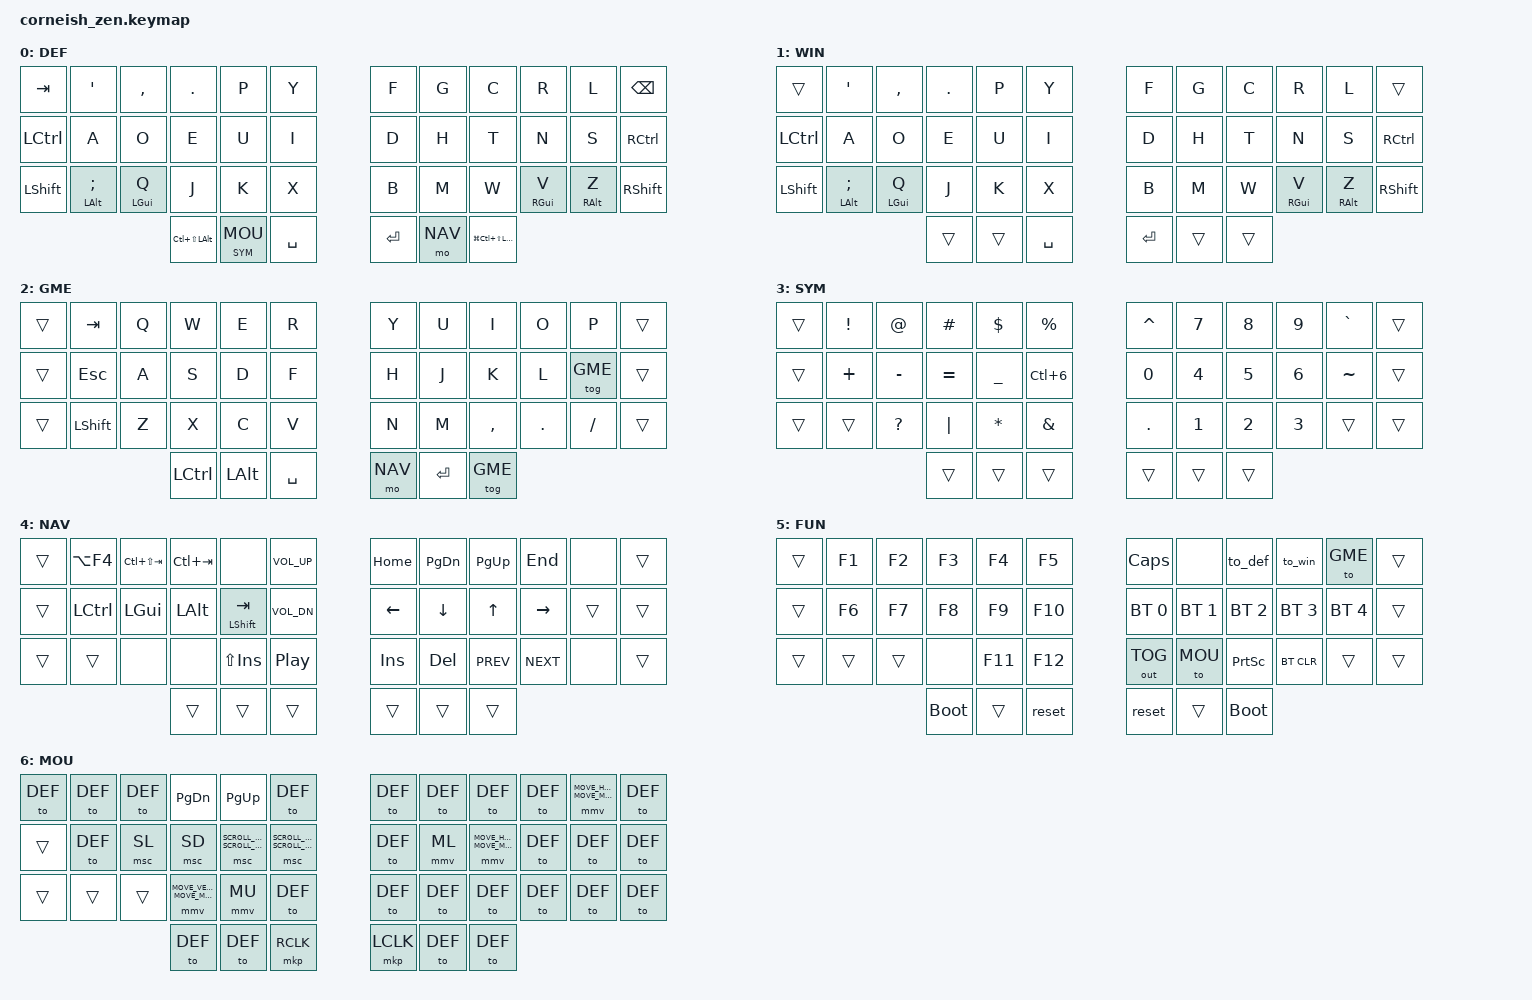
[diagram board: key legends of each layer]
#define THREE_THUMBS
#include <behaviors.dtsi>
#include <dt-bindings/zmk/keys.h>
#include <dt-bindings/zmk/bt.h>
#include <dt-bindings/zmk/outputs.h>
#include <dt-bindings/zmk/mouse.h>
#ifdef EXTERNAL_POWER
#    include <dt-bindings/zmk/ext_power.h>
#endif

// Layer aliases
#define DEF 0
#define CLM 1
#define GME 2
#define SYM 3
#define NAV 4
#define FUN 5
#define MOU 6

// Desktop and tab navigation shortcuts
#define D_LT   LC(LEFTD_LT   LC(LEFT)
#define D_RT   LC(RIGHT)
#define TAB_RT LC(TAB)
#define TAB_LT LC(LS(TAB))

// Meh and Hyper

#define MEH LC(LS(LALT))
#define HYPER LG(LC(LS(LALT)))
#define U_MOUSE_MOVE_MAX_HORI 3300                    /* <--- New max speed setting (default: 600) */
#define U_MOUSE_MOVE_MAX_VERT 2400                    /* <--- New max speed setting (default: 600) */

#define MU 	MOVE_VERT(-U_MOUSE_MOVE_MAX_VERT)
#define MD 	MOVE_VERT(U_MOUSE_MOVE_MAX_VERT)
#define ML 	MOVE_HOR(-U_MOUSE_MOVE_MAX_HORI)
#define MR 	MOVE_HOR(U_MOUSE_MOVE_MAX_HORI)

#define U_MOUSE_SCROLL_MAX_VERT 30                    /* <--- New max speed setting (default: 10) */
#define U_MOUSE_SCROLL_MAX_HORI 10                    /* <--- New max speed setting (default: 10) */

#define SU SCROLL_VERT(U_MOUSE_SCROLL_MAX_VERT)
#define SD SCROLL_VERT(-U_MOUSE_SCROLL_MAX_VERT)
#define SL SCROLL_HOR(-U_MOUSE_SCROLL_MAX_HORI)
#define SR SCROLL_HOR(U_MOUSE_SCROLL_MAX_HORI)

&msc {
  time-to-max-speed-ms = <400>;                 /* <--- How long time until max speed is reached */
};

&mmv {
  time-to-max-speed-ms = <800>;             /* <--- How long time until max speed is reached (default: 500) */
};

#include "combos.dtsi"

/ {
  chosen {
    zmk,matrix_transform = &default_transform;
    //zmk,matrix_transform = &five_column_transform;
  };
};

&mt {
    flavor = "hold-preferred";
    tapping-term-ms = <150>;
};

&lt {
    flavor = "balanced";
    tapping-term-ms = <150>;
};

&caps_word {
    continue-list = <UNDERSCORE MINUS BSPC DEL N1 N2 N3 N4 N5 N6 N7 N8 N9 N0>;
};

/ {
    behaviors {
        am: alpha_mods {
            compatible = "zmk,behavior-hold-tap";
            label = "ALPHA_MT";
            #binding-cells = <2>;
            tapping-term-ms = <250>;
            quick-tap-ms = <150>;
            flavor = "tap-preferred";
            bindings = <&kp>, <&kp>;
        };
        as: alpha_shift {
            compatible = "zmk,behavior-hold-tap";
            label = "ALPHA_SFT";
            #binding-cells = <2>;
            tapping-term-ms = <200>;
            quick-tap-ms = <150>;
            flavor = "tap-preferred";
            bindings = <&kp>, <&kp>;
	    };
	ilt: global-quick-tap {
	   compatible = "zmk,behavior-hold-tap";
	   label = "INVERSE_LAYER_TOGGLE";
	   #binding-cells = <2>;
	   flavor = "hold-preferred";
	   tapping-term-ms = <200>;
	   quick-tap-ms = <180>;
	   bindings = <&mo>, <&to>;
	 };

        // Easy alt-tab with alt+backspace thumb using mod-morphs
        bstab: backspace_tab {
            compatible = "zmk,behavior-mod-morph";
            label = "BSPC_TAB";
            #binding-cells = <0>;
            bindings = <&kp BSPC>, <&kp TAB>;
            mods = <MOD_LALT>;
        };
        lt_bspc: layer_tap_backspace_tab {
            compatible = "zmk,behavior-hold-tap";
            label = "LT_BT";
            #binding-cells = <2>;
            tapping-term-ms = <150>;
            flavor = "balanced";
            bindings = <&mo>, <&bstab>;
        };
    };

    cond_layers {
        compatible = "zmk,conditional-layers";
        // Define FUN layer as tri-state
        func_tristate {
            if-layers = <NAV SYM>;
            then-layer = <FUN>;
        };
    };

    macros {
        ZMK_MACRO(MOUSE_SELECT,
            wait-ms = <10>;
            tap-ms = <10>;
            bindings
                = <&macro_tap &mkp LCLK>
                , <&macro_tap &to DEF>;
        )
        ZMK_MACRO(to_win,
            wait-ms = <10>;
            tap-ms = <10>;
            bindings
                = <&macro_tap &kp LC(F2)>
                , <&macro_tap &to CLM>;
        )
        ZMK_MACRO(to_def,
            wait-ms = <10>;
            tap-ms = <10>;
            bindings
                = <&macro_press &kp LC(F1)>
                , <&macro_press &to DEF>;
        )
    };

    keymap {
        compatible = "zmk,keymap";

        default_layer {
            label = "DEF";
            bindings = <
//@format
// ╭─────────────┬─────────────┬─────────────┬─────────────┬─────────────┬─────────────╮   ╭─────────────┬─────────────┬─────────────┬─────────────┬─────────────┬─────────────╮
    &kp TAB 	  &kp SQT       &kp COMMA     &kp DOT       &kp P         &kp Y             &kp F         &kp G         &kp C         &kp R         &kp L         &kp BSPC
// ├─────────────┼─────────────┼─────────────┼─────────────┼─────────────┼─────────────┤   ├─────────────┼─────────────┼─────────────┼─────────────┼─────────────┼─────────────┤
    &kp LCTRL     &kp A         &kp O         &kp E         &kp U   	  &kp I             &kp D         &kp H         &kp T         &kp N         &kp S         &kp RCTRL
// ├─────────────┼─────────────┼─────────────┼─────────────┼─────────────┼─────────────┤   ├─────────────┼─────────────┼─────────────┼─────────────┼─────────────┼─────────────┤
    &kp LSHIFT    &am LALT SEMI &am LGUI Q    &kp J         &kp K         &kp X             &kp B         &kp M         &kp W         &am RGUI V    &am RALT Z    &kp RSHIFT
// ╰─────────────┴─────────────┴─────────────┼─────────────┼─────────────┼─────────────┤   ├─────────────┼─────────────┼─────────────┼─────────────┴─────────────┴─────────────╯
                                              &kp MEH       &ilt SYM MOU  &kp SPACE         &kp ENTER     &mo NAV       &kp HYPER
//                                           ╰─────────────┴─────────────┴─────────────╯   ╰─────────────┴─────────────┴─────────────╯
            >;
        };

        colemak_layer {
            label = "WIN";
            bindings = <
//@format
// ╭─────────────┬─────────────┬─────────────┬─────────────┬─────────────┬─────────────╮   ╭─────────────┬─────────────┬─────────────┬─────────────┬─────────────┬─────────────╮
    &trans        &kp SQT       &kp COMMA     &kp DOT       &kp P         &kp Y             &kp F         &kp G         &kp C         &kp R         &kp L 	  &trans
// ├─────────────┼─────────────┼─────────────┼─────────────┼─────────────┼─────────────┤   ├─────────────┼─────────────┼─────────────┼─────────────┼─────────────┼─────────────┤
    &kp LCTRL     &kp A         &kp O         &kp E         &kp U         &kp I             &kp D         &kp H         &kp T         &kp N         &kp S         &kp RCTRL
// ├─────────────┼─────────────┼─────────────┼─────────────┼─────────────┼─────────────┤   ├─────────────┼─────────────┼─────────────┼─────────────┼─────────────┼─────────────┤
    &kp LSHIFT    &am LALT SEMI &am LGUI Q    &kp J         &kp K         &kp X             &kp B         &kp M         &kp W         &am RGUI V    &am RALT Z    &kp RSHIFT
// ╰─────────────┴─────────────┴─────────────┴─────────────┼─────────────┼─────────────┤   ├─────────────┼─────────────┼─────────────┼─────────────┴─────────────┴─────────────╯
                                              &trans        &trans        &kp SPACE         &kp ENTER     &trans        &trans
//                                           ╰─────────────┴─────────────╯─────────────╯   ╰─────────────┴─────────────┴─────────────╯
            >;
        };

        game_layer {
            label = "GME";
            bindings = <
//@format
// ╭─────────────┬─────────────┬─────────────┬─────────────┬─────────────┬─────────────╮   ╭─────────────┬─────────────┬─────────────┬─────────────┬─────────────┬─────────────╮
    &trans        &kp TAB       &kp Q         &kp W         &kp E         &kp R             &kp Y         &kp U         &kp I         &kp O         &kp P          &trans
// ├─────────────┼─────────────┼─────────────┼─────────────┼─────────────┼─────────────┤   ├─────────────┼─────────────┼─────────────┼─────────────┼─────────────┼─────────────┤
    &trans        &kp ESC       &kp A         &kp S         &kp D         &kp F             &kp H         &kp J         &kp K         &kp L         &tog GME  	   &trans
// ├─────────────┼─────────────┼─────────────┼─────────────┼─────────────┼─────────────┤   ├─────────────┼─────────────┼─────────────┼─────────────┼─────────────┼─────────────┤
    &trans        &kp LSHFT     &kp Z         &kp X         &kp C         &kp V             &kp N         &kp M         &kp COMMA     &kp DOT       &kp SLASH      &trans
// ╰─────────────┴─────────────┴─────────────┴─────────────┼─────────────┼─────────────┤   ├─────────────┼─────────────┼─────────────┼─────────────┴─────────────┴─────────────╯
					      &kp LCTRL     &kp LALT      &kp SPACE         &mo NAV       &kp RET       &tog GME
//                                           ╰─────────────┴─────────────┴─────────────╯   ╰─────────────┴─────────────┴─────────────╯
            >;
        };

        symbol_layer {
            label = "SYM";
            bindings = <
//@format
// ╭─────────────┬─────────────┬─────────────┬─────────────┬─────────────┬─────────────╮   ╭─────────────┬─────────────┬─────────────┬─────────────┬─────────────┬─────────────╮
     &trans 	  &kp EXCL      &kp AT        &kp HASH      &kp DLLR      &kp PRCNT          &kp CARET      &kp N7        &kp N8        &kp N9        &kp GRAVE    &trans
// ├─────────────┼─────────────┼─────────────┼─────────────┼─────────────┼─────────────┤   ├─────────────┼─────────────┼─────────────┼─────────────┼─────────────┼─────────────┤
     &trans       &kp PLUS      &kp MINUS     &kp EQUAL     &kp UNDER     &kp LC(N6)         &kp N0        &kp N4        &kp N5        &kp N6        &kp TILDE    &trans
// ├─────────────┼─────────────┼─────────────┼─────────────┼─────────────┼─────────────┤   ├─────────────┼─────────────┼─────────────┼─────────────┼─────────────┼─────────────┤
     &trans       &trans         &kp QMARK    &kp PIPE       &kp STAR      &kp AMPS          &kp DOT      &kp N1         &kp N2        &kp N3        &trans       &trans
// ╰─────────────┴─────────────┴─────────────┼─────────────┼─────────────┼─────────────┤   ├─────────────┼─────────────┼─────────────┼─────────────┴─────────────┴─────────────╯
                                              &trans         &trans       &trans            &trans        &trans         &trans
//                                           ╰─────────────┴─────────────┴─────────────╯   ╰─────────────┴─────────────┴─────────────╯
            >;
        };

        nav_layer {
            label = "NAV";
            bindings = <
//@format
// ╭─────────────┬─────────────┬─────────────┬─────────────┬─────────────┬─────────────╮   ╭─────────────┬─────────────┬─────────────┬─────────────┬─────────────┬─────────────╮
     &trans       &kp LA(F4)    &kp TAB_LT    &kp TAB_RT    &none         &kp C_VOL_UP      &kp HOME      &kp PG_DN     &kp PG_UP     &kp END       &none         &trans
// ├─────────────┼─────────────┼─────────────┼─────────────┼─────────────┼─────────────┤   ├─────────────┼─────────────┼─────────────┼─────────────┼─────────────┼─────────────┤
     &trans       &kp LCTRL     &kp LGUI      &kp LALT      &am LSHFT TAB  &kp C_VOL_DN      &kp LEFT      &kp DOWN      &kp UP        &kp RIGHT     &trans       &trans
// ├─────────────┼─────────────┼─────────────┼─────────────┼─────────────┼─────────────┤   ├─────────────┼─────────────┼─────────────┼─────────────┼─────────────┼─────────────┤
     &trans       &trans         &none         &none         &kp LS(INS)   &kp C_PP          &kp INS       &kp DEL       &kp C_PREV    &kp C_NEXT    &none         &trans
// ╰─────────────┴─────────────┴─────────────┼─────────────┼─────────────┼─────────────┤   ├─────────────┼─────────────┼─────────────┼─────────────┴─────────────┴─────────────╯
                                               &trans        &trans        &trans            &trans        &trans        &trans
//                                           ╰─────────────┴─────────────┴─────────────╯   ╰─────────────┴─────────────┴─────────────╯
            >;
        };
        function_layer {
            label = "FUN";
            bindings = <
//@format
// ╭─────────────┬─────────────┬─────────────┬─────────────┬─────────────┬─────────────╮   ╭─────────────┬─────────────┬─────────────┬─────────────┬─────────────┬─────────────╮
     &trans        &kp F1        &kp F2        &kp F3        &kp F4        &kp F5            &kp CAPS      &none         &to_def       &to_win       &to GME      &trans
// ├─────────────┼─────────────┼─────────────┼─────────────┼─────────────┼─────────────┤   ├─────────────┼─────────────┼─────────────┼─────────────┼─────────────┼─────────────┤
     &trans        &kp F6        &kp F7        &kp F8        &kp F9        &kp F10           &bt BT_SEL 0  &bt BT_SEL 1  &bt BT_SEL 2  &bt BT_SEL 3  &bt BT_SEL 4 &trans
// ├─────────────┼─────────────┼─────────────┼─────────────┼─────────────┼─────────────┤   ├─────────────┼─────────────┼─────────────┼─────────────┼─────────────┼─────────────┤
     &trans        &trans         &trans        &none         &kp F11       &kp F12          &out OUT_TOG  &to MOU       &kp PSCRN     &bt BT_CLR     &trans        &trans
// ╰─────────────┴─────────────┴─────────────┼─────────────┼─────────────┼─────────────┤   ├─────────────┼─────────────┼─────────────┼─────────────┴─────────────┴─────────────╯
					      &bootloader   &trans        &reset            &reset        &trans        &bootloader
//                                           ╰─────────────┴─────────────┴─────────────╯   ╰─────────────┴─────────────┴─────────────╯
            >;
        };
        mouse_layer {
            label = "MOU";
            bindings = <
// ╭─────────────┬─────────────┬─────────────┬─────────────┬─────────────┬─────────────╮   ╭─────────────┬─────────────┬─────────────┬─────────────┬─────────────┬─────────────╮
    &to DEF       &to DEF       &to DEF       &kp PG_DN     &kp PG_UP     &to DEF           &to DEF       &to DEF       &to DEF       &to DEF       &mmv MR       &to DEF
// ├─────────────┼─────────────┼─────────────┼─────────────┼─────────────┼─────────────┤   ├─────────────┼─────────────┼─────────────┼─────────────┼─────────────┼─────────────┤
    &trans        &to DEF       &msc SL       &msc SD       &msc SU       &msc SR           &to DEF       &mmv ML       &mmv MR       &to DEF       &to DEF       &to DEF
// ├─────────────┼─────────────┼─────────────┼─────────────┼─────────────┼─────────────┤   ├─────────────┼─────────────┼─────────────┼─────────────┼─────────────┼─────────────┤
    &trans        &trans        &trans        &mmv MD       &mmv MU       &to DEF           &to DEF       &to DEF       &to DEF       &to DEF       &to DEF       &to DEF
// ╰─────────────┴─────────────┴─────────────┼─────────────┼─────────────┼─────────────┤   ├─────────────┼─────────────┼─────────────┼─────────────┴─────────────┴─────────────╯
					      &to DEF       &to DEF       &mkp RCLK         &mkp LCLK     &to DEF       &to DEF
//                                           ╰─────────────┴─────────────┴─────────────╯   ╰─────────────┴─────────────┴─────────────╯
            >;
        };
    };
};


/*

// ╭─────────────┬─────────────┬─────────────┬─────────────┬─────────────┬─────────────╮   ╭─────────────┬─────────────┬─────────────┬─────────────┬─────────────┬─────────────╮
    &none         &none         &none         &none         &none         &none             &none         &none         &none         &none         &none         &none
// ├─────────────┼─────────────┼─────────────┼─────────────┼─────────────┼─────────────┤   ├─────────────┼─────────────┼─────────────┼─────────────┼─────────────┼─────────────┤
     &none         &none         &none         &none         &none         &none             &none         &none         &none         &none         &none         &none
// ├─────────────┼─────────────┼─────────────┼─────────────┼─────────────┼─────────────┤   ├─────────────┼─────────────┼─────────────┼─────────────┼─────────────┼─────────────┤
     &none         &none         &none         &none         &none         &none             &none         &none         &none         &none         &none         &none
// ╰─────────────┴─────────────┴─────────────┼─────────────┼─────────────┼─────────────┤   ├─────────────┼─────────────┼─────────────┼─────────────┴─────────────┴─────────────╯
					      &none         &none         &none             &none         &none         &none
//                                           ╰─────────────┴─────────────┴─────────────╯   ╰─────────────┴─────────────┴─────────────╯
*/
